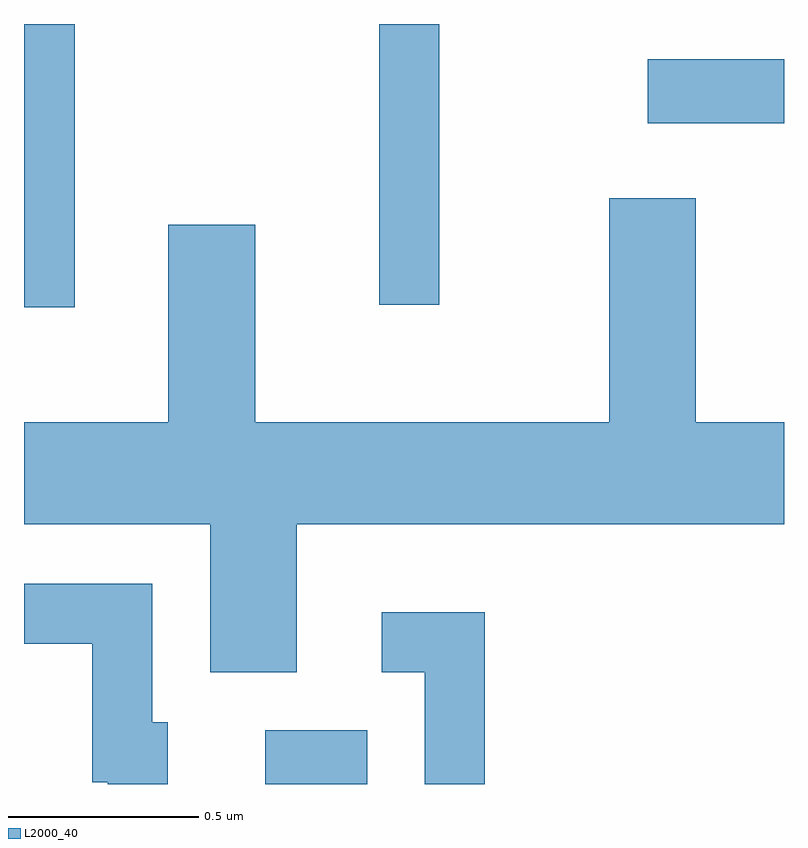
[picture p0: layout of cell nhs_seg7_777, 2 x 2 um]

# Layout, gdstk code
import gdstk
lib = gdstk.Library(unit=1e-6, precision=1e-09)
def R(c, l, rs):  # rectangles x0, y0, x1, y1
    for r in rs: c.add(gdstk.rectangle(r[:2], r[2:], *l))
def P(c, l, *ps):  # polygons
    for p in ps: c.add(gdstk.Polygon(p, *l))
L2000_40 = (2000, 40)

nhs_seg7_777 = lib.new_cell('nhs_seg7_777')
R(nhs_seg7_777, L2000_40, [(191.246,1760.252,191.514,1760.394), (190.611,1761.506,190.744,1762.252), (191.546,1761.513,191.704,1762.252), (192.253,1761.991,192.611,1762.159)])
P(nhs_seg7_777, L2000_40, [(191.329,1760.936),(192.611,1760.936),(192.611,1761.204),(192.379,1761.204),(192.379,1761.794),(192.151,1761.794),(192.151,1761.204),(191.219,1761.204),(191.219,1761.724),(190.991,1761.724),(190.991,1761.204),(190.611,1761.204),(190.611,1760.936),(191.101,1760.936),(191.101,1760.546),(191.329,1760.546)],
  [(190.989,1760.414),(190.949,1760.414),(190.949,1760.779),(190.611,1760.779),(190.611,1760.621),(190.791,1760.621),(190.791,1760.256),(190.831,1760.256),(190.831,1760.252),(190.989,1760.252)],
  [(191.824,1760.704),(191.553,1760.704),(191.553,1760.546),(191.666,1760.546),(191.666,1760.252),(191.824,1760.252)])

lib.write_gds('nhs_seg7_777.gds')
